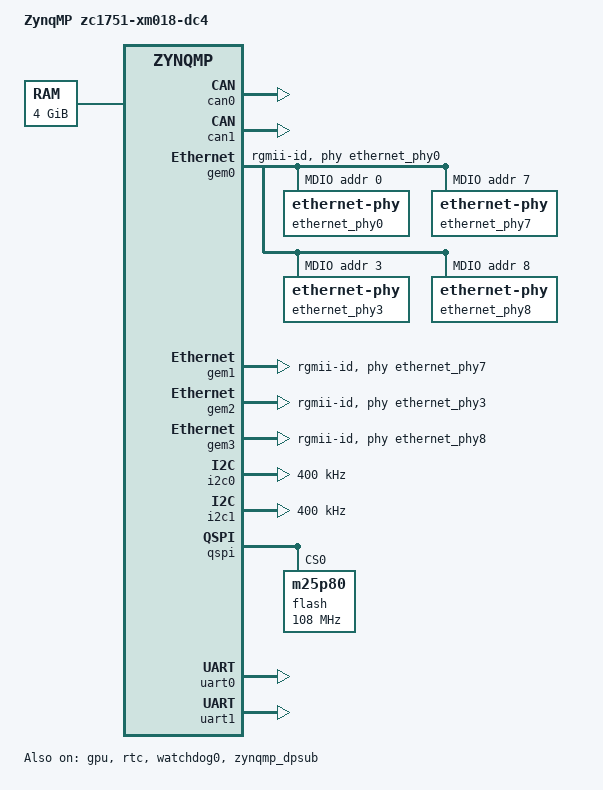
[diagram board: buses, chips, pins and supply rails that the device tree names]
// SPDX-License-Identifier: GPL-2.0+
/*
 * dts file for Xilinx ZynqMP zc1751-xm018-dc4
 *
 * (C) Copyright 2015 - 2021, Xilinx, Inc.
 *
 * Michal Simek <michal.simek@amd.com>
 */

/dts-v1/;

#include "zynqmp.dtsi"
#include "zynqmp-clk-ccf.dtsi"

/ {
	model = "ZynqMP zc1751-xm018-dc4";
	compatible = "xlnx,zynqmp-zc1751", "xlnx,zynqmp";

	aliases {
		ethernet0 = &gem0;
		ethernet1 = &gem1;
		ethernet2 = &gem2;
		ethernet3 = &gem3;
		i2c0 = &i2c0;
		i2c1 = &i2c1;
		rtc0 = &rtc;
		serial0 = &uart0;
		serial1 = &uart1;
		spi0 = &qspi;
	};

	chosen {
		bootargs = "earlycon";
		stdout-path = "serial0:115200n8";
	};

	memory@0 {
		device_type = "memory";
		reg = <0x0 0x0 0x0 0x80000000>, <0x8 0x00000000 0x0 0x80000000>;
	};
};

&can0 {
	status = "okay";
};

&can1 {
	status = "okay";
};

&fpd_dma_chan1 {
	status = "okay";
};

&fpd_dma_chan2 {
	status = "okay";
};

&fpd_dma_chan3 {
	status = "okay";
};

&fpd_dma_chan4 {
	status = "okay";
};

&fpd_dma_chan5 {
	status = "okay";
};

&fpd_dma_chan6 {
	status = "okay";
};

&fpd_dma_chan7 {
	status = "okay";
};

&fpd_dma_chan8 {
	status = "okay";
};

&lpd_dma_chan1 {
	status = "okay";
};

&lpd_dma_chan2 {
	status = "okay";
};

&lpd_dma_chan3 {
	status = "okay";
};

&lpd_dma_chan4 {
	status = "okay";
};

&lpd_dma_chan5 {
	status = "okay";
};

&lpd_dma_chan6 {
	status = "okay";
};

&lpd_dma_chan7 {
	status = "okay";
};

&lpd_dma_chan8 {
	status = "okay";
};

&gem0 {
	status = "okay";
	phy-mode = "rgmii-id";
	phy-handle = <&ethernet_phy0>;
	mdio: mdio {
		#address-cells = <1>;
		#size-cells = <0>;
		ethernet_phy0: ethernet-phy@0 { /* Marvell 88e1512 */
			reg = <0>;
		};
		ethernet_phy7: ethernet-phy@7 { /* Vitesse VSC8211 */
			reg = <7>;
		};
		ethernet_phy3: ethernet-phy@3 { /* Realtek RTL8211DN */
			reg = <3>;
		};
		ethernet_phy8: ethernet-phy@8 { /* Vitesse VSC8211 */
			reg = <8>;
		};
	};
};

&gem1 {
	status = "okay";
	phy-mode = "rgmii-id";
	phy-handle = <&ethernet_phy7>;
};

&gem2 {
	status = "okay";
	phy-mode = "rgmii-id";
	phy-handle = <&ethernet_phy3>;
};

&gem3 {
	status = "okay";
	phy-mode = "rgmii-id";
	phy-handle = <&ethernet_phy8>;
};

&gpio {
	status = "okay";
};

&gpu {
	status = "okay";
};

&i2c0 {
	clock-frequency = <400000>;
	status = "okay";
};

&i2c1 {
	clock-frequency = <400000>;
	status = "okay";
};

&qspi {
	status = "okay";
	flash@0 {
		compatible = "m25p80", "jedec,spi-nor"; /* 32MB */
		#address-cells = <1>;
		#size-cells = <1>;
		reg = <0x0>;
		spi-tx-bus-width = <4>;
		spi-rx-bus-width = <4>; /* also DUAL configuration possible */
		spi-max-frequency = <108000000>; /* Based on DC1 spec */
	};
};

&rtc {
	status = "okay";
};

&uart0 {
	status = "okay";
};

&uart1 {
	status = "okay";
};

&watchdog0 {
	status = "okay";
};

&zynqmp_dpdma {
	status = "okay";
};

&zynqmp_dpsub {
	status = "okay";
};
